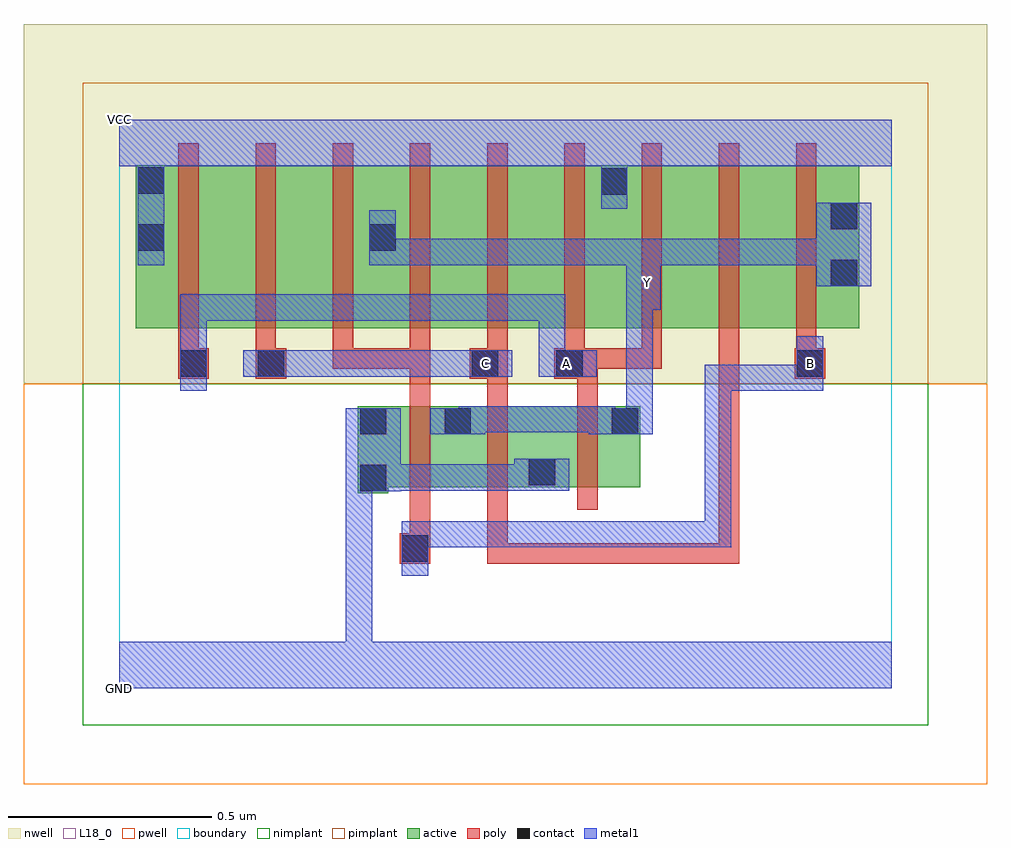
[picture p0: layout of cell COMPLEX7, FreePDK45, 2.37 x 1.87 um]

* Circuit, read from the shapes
.subckt COMPLEX7 A B C GND VCC Y
M1 Y B GND VSUBS nfet w=0.2u l=0.05u
M2 GND C Y VSUBS nfet w=0.2u l=0.05u
M3 Y A GND VSUBS nfet w=0.2u l=0.05u
M4 n1 A VCC n2 pfet w=0.4u l=0.05u
M5 n3 C n1 n2 pfet w=0.4u l=0.05u
M6 Y B n3 n2 pfet w=0.4u l=0.05u
M7 n4 B Y n2 pfet w=0.4u l=0.05u
M8 n5 C n4 n2 pfet w=0.4u l=0.05u
M9 VCC A n5 n2 pfet w=0.4u l=0.05u
M10 n6 A VCC n2 pfet w=0.4u l=0.05u
M11 n7 C n6 n2 pfet w=0.4u l=0.05u
M12 Y B n7 n2 pfet w=0.4u l=0.05u
.ends

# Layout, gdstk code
import gdstk
lib = gdstk.Library(unit=1e-6, precision=1e-09)
def R(c, l, rs):  # rectangles x0, y0, x1, y1
    for r in rs: c.add(gdstk.rectangle(r[:2], r[2:], *l))
def A(c, l, x, y, w, h, nx, ny, dx, dy):  # array of equal rectangles
    R(c, l, [(x+i*dx, y+j*dy, x+i*dx+w, y+j*dy+h) for i in range(nx) for j in range(ny)])
active = (1, 0)
pwell = (2, 0)
nwell = (3, 0)
nimplant = (4, 0)
pimplant = (5, 0)
poly = (9, 0)
contact = (10, 0)
metal1 = (11, 0)
L18_0 = (18, 0)
boundary = (235, 0)

complex7 = lib.new_cell('COMPLEX7')
A(complex7, active, 0.04, 0.887, 0.225, 0.4, 3, 1, 0.57, 0)
A(complex7, active, 0.265, 0.887, 0.19, 0.4, 3, 1, 0.57, 0)
R(complex7, active, [(0.587,0.48,0.662,0.695), (0.587,0.495,0.87,0.695), (0.795,0.495,0.87,0.695), (0.795,0.495,1.077,0.695), (1.002,0.495,1.282,0.695), (1.002,0.495,1.077,0.57), (1.207,0.495,1.282,0.695), (0.04,0.887,0.115,1.287), (0.455,0.887,0.685,1.287), (0.61,0.887,0.685,1.2), (1.025,0.887,1.255,1.287), (1.595,0.887,1.82,1.287), (1.745,0.887,1.82,1.2), (1.18,0.907,1.255,1.285)])
R(complex7, pwell, [(-0.235,-0.235,2.135,0.75)])
R(complex7, nwell, [(-0.235,0.75,2.135,1.635)])
R(complex7, nimplant, [(-0.09,-0.09,1.99,0.75)])
R(complex7, pimplant, [(-0.09,0.75,1.99,1.49)])
A(complex7, poly, 0.145, 0.787, 0.05, 0.095, 7, 1, 0.19, 0)
A(complex7, poly, 0.145, 0.832, 0.05, 0.51, 9, 1, 0.19, 0)
R(complex7, poly, [(0.69,0.307,0.765,0.382), (0.905,0.307,0.955,0.357), (0.905,0.307,0.955,0.357), (0.905,0.307,0.955,0.357), (0.905,0.307,1.087,0.357), (0.905,0.307,0.955,0.49), (1.037,0.307,1.087,0.357), (1.037,0.307,1.087,0.357), (1.037,0.307,1.087,0.357), (1.037,0.307,1.392,0.357), (1.342,0.307,1.392,0.357), (1.342,0.307,1.525,0.357), (1.475,0.307,1.525,0.882), (1.475,0.307,1.525,0.357), (1.475,0.307,1.525,0.357), (1.475,0.307,1.525,0.357), (1.475,0.307,1.525,0.357), (1.475,0.307,1.525,0.357), (1.475,0.307,1.525,0.357), (1.475,0.307,1.525,0.357), (1.475,0.307,1.525,0.357), (1.475,0.307,1.525,0.357), (0.715,0.332,0.765,0.49), (0.715,0.44,0.765,0.75), (0.905,0.44,0.955,0.75), (1.127,0.44,1.177,0.75), (0.715,0.7,0.765,0.837), (0.905,0.7,0.955,0.812), (1.127,0.7,1.177,0.812), (0.145,0.762,0.22,0.837), (0.335,0.762,0.41,0.837), (0.862,0.762,0.955,0.837), (1.07,0.762,1.177,0.837), (1.662,0.762,1.737,0.837), (0.525,0.787,0.575,0.837), (0.525,0.787,0.575,0.837), (0.525,0.787,0.575,0.837), (0.525,0.787,0.765,0.837), (0.715,0.787,0.765,0.837), (1.127,0.787,1.177,0.837), (1.127,0.787,1.177,0.837), (1.127,0.787,1.335,0.837), (1.285,0.787,1.335,0.837), (1.665,0.787,1.715,0.882)])
R(complex7, contact, [(0.695,0.312,0.76,0.377), (0.592,0.485,0.657,0.55), (1.007,0.5,1.072,0.565), (0.592,0.625,0.657,0.69), (0.8,0.625,0.865,0.69), (1.212,0.625,1.277,0.69), (0.15,0.767,0.215,0.832), (0.34,0.767,0.405,0.832), (0.867,0.767,0.932,0.832), (1.075,0.767,1.14,0.832), (1.667,0.767,1.732,0.832), (1.75,0.99,1.815,1.055), (0.045,1.077,0.11,1.142), (0.615,1.077,0.68,1.142), (1.75,1.13,1.815,1.195), (1.185,1.215,1.25,1.28), (0.045,1.217,0.11,1.282)])
R(complex7, metal1, [(0,0,1.9,0.115), (0.557,0.05,0.622,0.115), (0.557,0.05,0.622,0.115), (0.557,0.05,0.622,0.115), (0.557,0.05,0.622,0.115), (0.557,0.05,0.622,0.115), (0.557,0.05,0.622,0.115), (0.557,0.05,0.622,0.55), (0.695,0.277,0.76,0.412), (0.695,0.347,0.9,0.412), (0.835,0.347,0.9,0.412), (0.835,0.347,0.9,0.412), (0.835,0.347,0.9,0.412), (0.835,0.347,1.105,0.412), (1.04,0.347,1.105,0.412), (1.04,0.347,1.105,0.412), (1.04,0.347,1.105,0.412), (1.04,0.347,1.367,0.412), (1.302,0.347,1.367,0.412), (1.302,0.347,1.367,0.412), (1.302,0.347,1.367,0.412), (1.302,0.347,1.505,0.412), (1.44,0.347,1.505,0.412), (1.44,0.347,1.505,0.412), (1.44,0.347,1.505,0.412), (1.44,0.347,1.505,0.797), (0.557,0.485,0.692,0.69), (0.627,0.487,0.715,0.552), (0.65,0.487,0.715,0.552), (0.65,0.487,0.897,0.552), (0.832,0.487,0.897,0.552), (0.832,0.487,0.897,0.552), (0.832,0.487,0.897,0.552), (0.832,0.487,1.037,0.552), (0.972,0.487,1.107,0.565), (0.765,0.625,0.9,0.69), (0.835,0.625,0.9,0.69), (0.835,0.625,0.9,0.695), (1.155,0.625,1.242,0.69), (1.155,0.625,1.22,0.695), (1.177,0.625,1.312,0.69), (1.247,0.625,1.312,0.997), (0.835,0.63,1.037,0.695), (0.972,0.63,1.037,0.695), (0.972,0.63,1.22,0.695), (0.15,0.732,0.215,0.867), (1.44,0.732,1.505,0.797), (1.44,0.732,1.505,0.797), (1.44,0.732,1.505,0.797), (1.44,0.732,1.505,0.797), (1.44,0.732,1.505,0.797), (1.44,0.732,1.642,0.797), (1.577,0.732,1.642,0.797), (1.577,0.732,1.732,0.797), (1.667,0.732,1.732,0.867), (0.305,0.767,0.44,0.832), (0.375,0.767,0.44,0.832), (0.375,0.767,0.44,0.832), (0.375,0.767,0.577,0.832), (0.512,0.767,0.577,0.832), (0.512,0.767,0.577,0.832), (0.512,0.767,0.577,0.832), (0.512,0.767,0.735,0.832), (0.67,0.767,0.735,0.832), (0.67,0.767,0.897,0.832), (0.832,0.767,0.897,0.832), (0.832,0.767,0.897,0.832), (0.832,0.767,0.967,0.832), (1.032,0.767,1.097,0.832), (1.032,0.767,1.097,0.832), (1.032,0.767,1.175,0.832), (1.032,0.767,1.097,0.97), (0.15,0.802,0.215,0.867), (0.15,0.802,0.215,0.867), (0.15,0.802,0.215,0.97), (0.15,0.905,0.215,0.97), (0.15,0.905,0.352,0.97), (0.287,0.905,0.352,0.97), (0.287,0.905,0.352,0.97), (0.287,0.905,0.352,0.97), (0.287,0.905,0.577,0.97), (0.512,0.905,0.577,0.97), (0.512,0.905,0.577,0.97), (0.512,0.905,0.577,0.97), (0.512,0.905,0.76,0.97), (0.695,0.905,0.76,0.97), (0.695,0.905,0.897,0.97), (0.832,0.905,0.897,0.97), (0.832,0.905,0.897,0.97), (0.832,0.905,0.897,0.97), (0.832,0.905,1.097,0.97), (1.032,0.905,1.097,0.97), (1.247,0.932,1.332,1.067), (1.715,0.99,1.85,1.195), (1.267,1.002,1.332,1.107), (0.045,1.042,0.11,1.317), (0.615,1.042,0.68,1.177), (0.615,1.042,0.76,1.107), (0.695,1.042,0.76,1.107), (0.695,1.042,0.897,1.107), (0.832,1.042,0.897,1.107), (0.832,1.042,0.897,1.107), (0.832,1.042,0.897,1.107), (0.832,1.042,1.105,1.107), (1.04,1.042,1.105,1.107), (1.04,1.042,1.105,1.107), (1.04,1.042,1.105,1.107), (1.04,1.042,1.332,1.107), (1.267,1.042,1.332,1.107), (1.267,1.042,1.332,1.107), (1.267,1.042,1.332,1.107), (1.267,1.042,1.357,1.107), (1.292,1.042,1.357,1.107), (1.292,1.042,1.505,1.107), (1.44,1.042,1.505,1.107), (1.44,1.042,1.505,1.107), (1.44,1.042,1.505,1.107), (1.44,1.042,1.642,1.107), (1.577,1.042,1.642,1.107), (1.577,1.042,1.78,1.107), (1.715,1.042,1.78,1.107), (1.715,1.042,1.78,1.107), (1.185,1.18,1.25,1.315), (1.185,1.25,1.25,1.35), (0.045,1.252,0.11,1.35), (0,1.285,1.9,1.4)])
R(complex7, L18_0, [(0,0,1.9,0.115), (0.557,0.05,0.622,0.115), (0.557,0.05,0.622,0.115), (0.557,0.05,0.622,0.115), (0.557,0.05,0.622,0.115), (0.557,0.05,0.622,0.115), (0.557,0.05,0.622,0.115), (0.557,0.05,0.622,0.55), (0.695,0.277,0.76,0.412), (0.695,0.347,0.9,0.412), (0.835,0.347,0.9,0.412), (0.835,0.347,0.9,0.412), (0.835,0.347,0.9,0.412), (0.835,0.347,1.105,0.412), (1.04,0.347,1.105,0.412), (1.04,0.347,1.105,0.412), (1.04,0.347,1.105,0.412), (1.04,0.347,1.367,0.412), (1.302,0.347,1.367,0.412), (1.302,0.347,1.367,0.412), (1.302,0.347,1.367,0.412), (1.302,0.347,1.505,0.412), (1.44,0.347,1.505,0.412), (1.44,0.347,1.505,0.412), (1.44,0.347,1.505,0.412), (1.44,0.347,1.505,0.797), (0.557,0.485,0.692,0.69), (0.627,0.487,0.715,0.552), (0.65,0.487,0.715,0.552), (0.65,0.487,0.897,0.552), (0.832,0.487,0.897,0.552), (0.832,0.487,0.897,0.552), (0.832,0.487,0.897,0.552), (0.832,0.487,1.037,0.552), (0.972,0.487,1.107,0.565), (0.765,0.625,0.9,0.69), (0.835,0.625,0.9,0.69), (0.835,0.625,0.9,0.695), (1.155,0.625,1.22,0.695), (1.155,0.625,1.242,0.69), (1.177,0.625,1.312,0.69), (1.247,0.625,1.312,0.997), (0.835,0.63,1.037,0.695), (0.972,0.63,1.037,0.695), (0.972,0.63,1.22,0.695), (0.15,0.732,0.215,0.867), (1.44,0.732,1.505,0.797), (1.44,0.732,1.505,0.797), (1.44,0.732,1.505,0.797), (1.44,0.732,1.505,0.797), (1.44,0.732,1.505,0.797), (1.44,0.732,1.642,0.797), (1.577,0.732,1.642,0.797), (1.577,0.732,1.732,0.797), (1.667,0.732,1.732,0.867), (0.305,0.767,0.44,0.832), (0.375,0.767,0.44,0.832), (0.375,0.767,0.44,0.832), (0.375,0.767,0.577,0.832), (0.512,0.767,0.577,0.832), (0.512,0.767,0.577,0.832), (0.512,0.767,0.577,0.832), (0.512,0.767,0.735,0.832), (0.67,0.767,0.735,0.832), (0.67,0.767,0.897,0.832), (0.832,0.767,0.897,0.832), (0.832,0.767,0.897,0.832), (0.832,0.767,0.967,0.832), (0.867,0.767,0.932,0.832), (1.032,0.767,1.097,0.832), (1.032,0.767,1.097,0.832), (1.032,0.767,1.097,0.97), (1.032,0.767,1.175,0.832), (1.067,0.767,1.132,0.832), (1.667,0.767,1.732,0.832), (0.15,0.802,0.215,0.867), (0.15,0.802,0.215,0.867), (0.15,0.802,0.215,0.97), (0.15,0.905,0.215,0.97), (0.15,0.905,0.352,0.97), (0.287,0.905,0.352,0.97), (0.287,0.905,0.352,0.97), (0.287,0.905,0.352,0.97), (0.287,0.905,0.577,0.97), (0.512,0.905,0.577,0.97), (0.512,0.905,0.577,0.97), (0.512,0.905,0.577,0.97), (0.512,0.905,0.76,0.97), (0.695,0.905,0.76,0.97), (0.695,0.905,0.897,0.97), (0.832,0.905,0.897,0.97), (0.832,0.905,0.897,0.97), (0.832,0.905,0.897,0.97), (0.832,0.905,1.097,0.97), (1.032,0.905,1.097,0.97), (1.247,0.932,1.332,1.067), (1.267,0.967,1.332,1.032), (1.715,0.99,1.85,1.195), (1.267,1.002,1.332,1.107), (0.045,1.042,0.11,1.317), (0.615,1.042,0.68,1.177), (0.615,1.042,0.76,1.107), (0.695,1.042,0.76,1.107), (0.695,1.042,0.897,1.107), (0.832,1.042,0.897,1.107), (0.832,1.042,0.897,1.107), (0.832,1.042,0.897,1.107), (0.832,1.042,1.105,1.107), (1.04,1.042,1.105,1.107), (1.04,1.042,1.105,1.107), (1.04,1.042,1.105,1.107), (1.04,1.042,1.332,1.107), (1.267,1.042,1.332,1.107), (1.267,1.042,1.332,1.107), (1.267,1.042,1.332,1.107), (1.267,1.042,1.357,1.107), (1.292,1.042,1.357,1.107), (1.292,1.042,1.505,1.107), (1.44,1.042,1.505,1.107), (1.44,1.042,1.505,1.107), (1.44,1.042,1.505,1.107), (1.44,1.042,1.642,1.107), (1.577,1.042,1.642,1.107), (1.577,1.042,1.78,1.107), (1.715,1.042,1.78,1.107), (1.715,1.042,1.78,1.107), (1.185,1.18,1.25,1.315), (1.185,1.25,1.25,1.35), (0.045,1.252,0.11,1.35), (0,1.285,1.9,1.4)])
R(complex7, boundary, [(0,0,1.9,1.4)])
complex7.add(gdstk.Label('A', (1.1,0.8), layer=11, texttype=0))
complex7.add(gdstk.Label('B', (1.7,0.8), layer=11, texttype=0))
complex7.add(gdstk.Label('C', (0.9,0.8), layer=11, texttype=0))
complex7.add(gdstk.Label('Y', (1.3,1), layer=11, texttype=0))
complex7.add(gdstk.Label('VCC', (0,1.4), layer=11, texttype=0))
complex7.add(gdstk.Label('GND', (0,0), layer=11, texttype=0))

lib.write_gds('COMPLEX7.gds')
